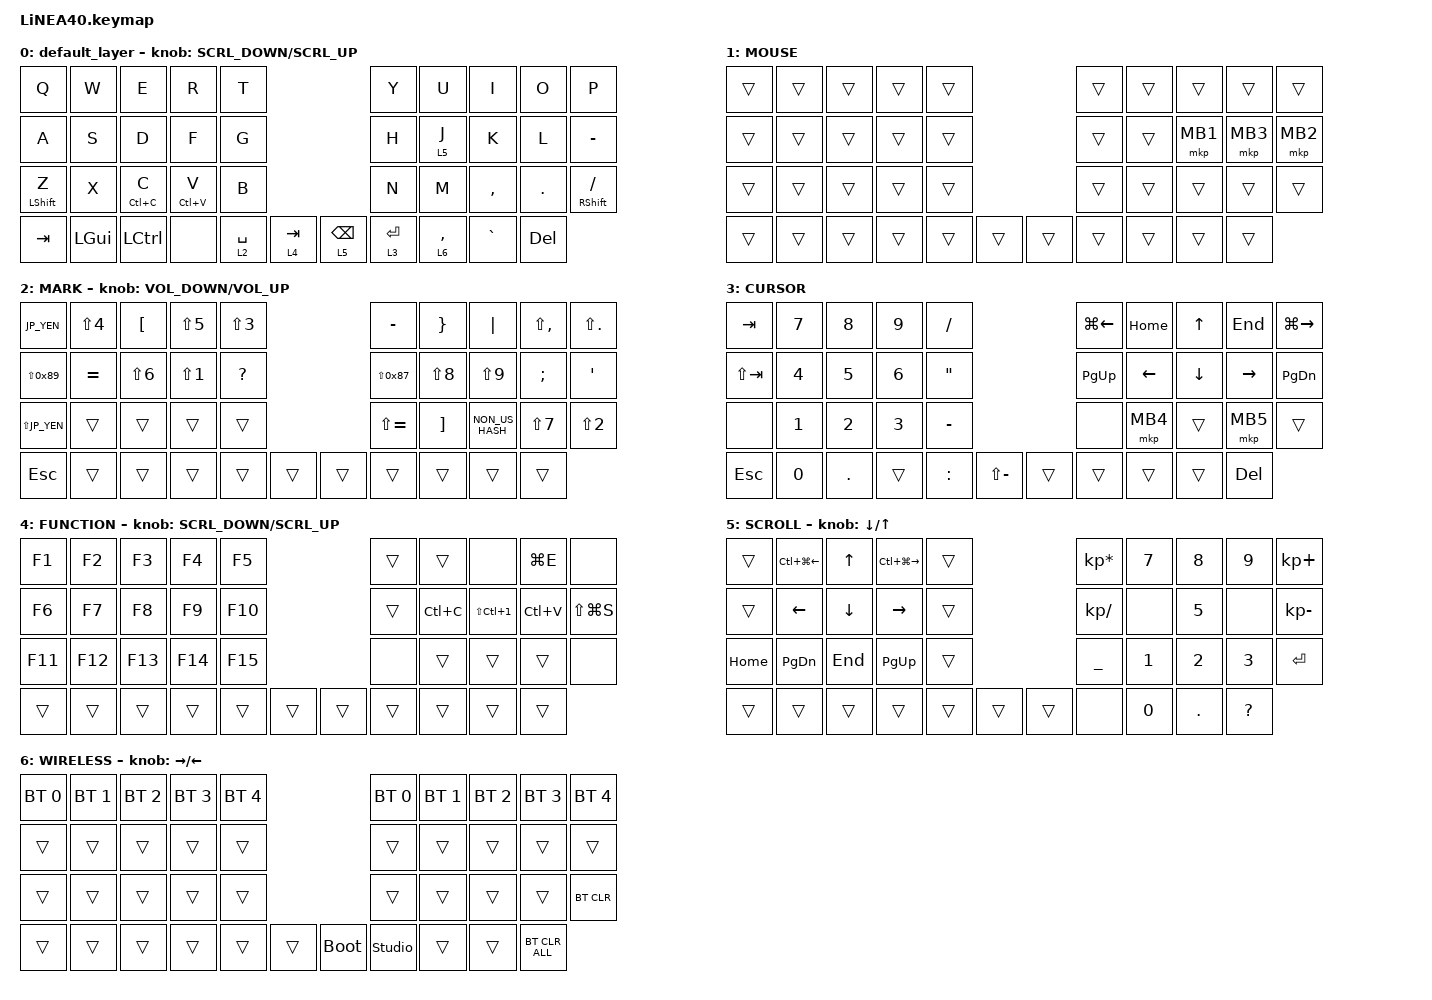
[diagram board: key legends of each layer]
#define ZMK_POINTING_DEFAULT_SCRL_VAL 150

#include <dt-bindings/zmk/input_transform.h>
#include <input/processors.dtsi>
#include <zephyr/dt-bindings/input/input-event-codes.h>
#include <behaviors.dtsi>
#include <dt-bindings/zmk/bt.h>
#include <dt-bindings/zmk/keys.h>
#include <dt-bindings/zmk/pointing.h>

#define MOUSE 1
#define MARK 2
#define CURSOR 3
#define FUNCTION 4
#define SCROLL 5
#define WIRELESS 6
#define JP_YEN     0x89
#define JP_PIPE    LS(0x89)
#define JP_UNDERSCORE LS(0x87)
#define JP_LBRACE  RIGHT_BRACE
#define JP_RBRACE  PIPE
#define JP_COLON  SINGLE_QUOTE
#define JP_ASTERISK  DOUBLE_QUOTES
#define JP_PLUS  COLON

//mouse cursol

&mmv {
    delay-ms = <20>;
    trigger-period-ms = <5>;
    time-to-max-speed-ms = <100>;
    acceleration-exponent = <2>;
};

//mouse scroll

&msc {
    delay-ms = <3>;
    trigger-period-ms = <3>;
    time-to-max-speed-ms = <100>;
    acceleration-exponent = <0>;
};

/ {
    input_processors {
        zip_wheel_scaler: zip_wheel_scaler {
            compatible = "zmk,input-processor-scaler";
            #input-processor-cells = <2>;
            type = <INPUT_EV_REL>;
            codes = <INPUT_REL_WHEEL>;
            track-remainders;
        };
    };
};

&msc_input_listener {
    speed_up {
        layers = <FUNCTION>;
        input-processors = <&zip_wheel_scaler 3 1>; //スクロールを3倍速にする
    };
};

&trackball_listener {
    scroller {
        layers = <SCROLL>;
        input-processors =
            <&zip_xy_transform INPUT_TRANSFORM_Y_INVERT>,
            //スクロール方向を逆転,,,,,,,,,,,,,
            <&zip_xy_to_scroll_mapper>;
    };
};

/ {
    combos {
        compatible = "zmk,combos";

        ZenkakuHankaku {
            bindings = <&kp GRAVE>;
            key-positions = <11 12>;
        };

        DeleteKey {
            bindings = <&kp DEL>;
            key-positions = <7 8>;
        };

        InsertKey {
            bindings = <&kp INS>;
            key-positions = <6 7>;
        };

        CenterClick {
            bindings = <&mkp MB3>;
            key-positions = <17 16>;
        };

        RightClick {
            bindings = <&mkp MB2>;
            key-positions = <18 17>;
        };
    };

    behaviors {
        re_kp: sensor_rotate_kp {
            compatible = "zmk,behavior-sensor-rotate-var";
            #sensor-binding-cells = <2>;
            bindings = <&kp>, <&kp>;
        };

        mouse_scrl: mouse_wheel_scrl {
            compatible = "zmk,behavior-sensor-rotate-var";
            #sensor-binding-cells = <2>;
            bindings = <&msc>, <&msc>;

            tap-ms = <20>;
        };
    };

    keymap {
        compatible = "zmk,keymap";

        default_layer {
            bindings = <
&kp Q             &kp W         &kp E             &kp R        &kp T                                      &kp Y        &kp U    &kp I        &kp O       &kp P
&kp A             &kp S         &kp D             &kp F        &kp G                                      &kp H        &lt 5 J  &kp K        &kp L       &kp MINUS
&mt LEFT_SHIFT Z  &kp X         &mt LC(C) C       &mt LC(V) V  &kp B                                      &kp N        &kp M    &kp COMMA    &kp PERIOD  &mt RIGHT_SHIFT SLASH
&kp TAB           &kp LEFT_GUI  &kp LEFT_CONTROL  &none        &lt 2 SPACE  &lt 4 TAB    &lt 5 BACKSPACE  &lt 3 ENTER           &lt 6 COMMA  &kp GRAVE   &kp DELETE
            >;

            sensor-bindings = <&mouse_scrl SCRL_DOWN SCRL_UP>;
        };

        //1

        MOUSE {
            bindings = <
&trans  &trans  &trans  &trans  &trans                    &trans  &trans  &trans    &trans    &trans
&trans  &trans  &trans  &trans  &trans                    &trans  &trans  &mkp MB1  &mkp MB3  &mkp MB2
&trans  &trans  &trans  &trans  &trans                    &trans  &trans  &trans    &trans    &trans
&trans  &trans  &trans  &trans  &trans  &trans    &trans  &trans          &trans    &trans    &trans
            >;
        };

        //2

        MARK {
            bindings = <
&kp JP_YEN      &kp LS(N4)  &kp LBKT    &kp LS(N5)  &kp LS(N3)                    &kp MINUS          &kp JP_LBRACE  &kp JP_RBRACE    &kp LS(COMMA)  &kp LS(DOT)
&kp JP_PIPE     &kp EQUAL   &kp LS(N6)  &kp LS(N1)  &kp QMARK                     &kp JP_UNDERSCORE  &kp LS(N8)     &kp LS(N9)       &kp SEMI       &kp JP_COLON
&kp LS(JP_YEN)  &trans      &trans      &trans      &trans                        &kp LS(EQUAL)      &kp RBKT       &kp NON_US_HASH  &kp LS(N7)     &kp LS(N2)
&kp ESC         &trans      &trans      &trans      &trans      &trans    &trans  &trans                            &trans           &trans         &trans
            >;

            sensor-bindings = <&re_kp C_VOLUME_DOWN C_VOLUME_UP>;
        };

        //3

        CURSOR {
            bindings = <
&kp TAB      &kp N7  &kp N8      &kp N9  &kp SLASH                                 &kp LG(LEFT)  &kp HOME        &kp UP_ARROW    &kp END          &kp LG(RIGHT)
&kp LS(TAB)  &kp N4  &kp N5      &kp N6  &kp JP_ASTERISK                           &kp PAGE_UP   &kp LEFT_ARROW  &kp DOWN_ARROW  &kp RIGHT_ARROW  &kp PAGE_DOWN
&none        &kp N1  &kp N2      &kp N3  &kp MINUS                                 &none         &mkp MB4        &trans          &mkp MB5         &trans
&kp ESCAPE   &kp N0  &kp PERIOD  &trans  &kp JP_PLUS      &kp LS(MINUS)    &trans  &trans                        &trans          &trans           &kp DEL
            >;
        };

        //4

        FUNCTION {
            bindings = <
&kp F1   &kp F2   &kp F3   &kp F4   &kp F5                     &trans  &trans     &none                 &kp LG(E)  &none
&kp F6   &kp F7   &kp F8   &kp F9   &kp F10                    &trans  &kp LC(C)  &kp LS(LC(NUMBER_1))  &kp LC(V)  &kp LS(LG(S))
&kp F11  &kp F12  &kp F13  &kp F14  &kp F15                    &none   &trans     &trans                &trans     &none
&trans   &trans   &trans   &trans   &trans   &trans    &trans  &trans             &trans                &trans     &trans
            >;

            sensor-bindings = <&mouse_scrl SCRL_DOWN SCRL_UP>;
        };

        //5

        SCROLL {
            bindings = <
&trans    &kp LC(LG(LEFT_ARROW))  &kp UP_ARROW  &kp LC(LG(RIGHT_ARROW))  &trans                    &kp KP_MULTIPLY  &kp NUMBER_7  &kp NUMBER_8  &kp NUMBER_9  &kp KP_PLUS
&trans    &kp LEFT_ARROW          &kp DOWN      &kp RIGHT_ARROW          &trans                    &kp KP_SLASH     &none         &kp NUMBER_5  &none         &kp KP_MINUS
&kp HOME  &kp PAGE_DOWN           &kp END       &kp PAGE_UP              &trans                    &kp UNDER        &kp NUMBER_1  &kp NUMBER_2  &kp NUMBER_3  &kp ENTER
&trans    &trans                  &trans        &trans                   &trans  &trans    &trans  &none                          &kp NUMBER_0  &kp DOT       &kp QUESTION
            >;

            sensor-bindings = <&inc_dec_kp DOWN_ARROW UP_ARROW>;
        };

        //6

        WIRELESS {
            bindings = <
&bt BT_SEL 0  &bt BT_SEL 1  &bt BT_SEL 2  &bt BT_SEL 3  &bt BT_SEL 4                         &bt BT_SEL 0    &bt BT_SEL 1  &bt BT_SEL 2  &bt BT_SEL 3  &bt BT_SEL 4
&trans        &trans        &trans        &trans        &trans                               &trans          &trans        &trans        &trans        &trans
&trans        &trans        &trans        &trans        &trans                               &trans          &trans        &trans        &trans        &bt BT_CLR
&trans        &trans        &trans        &trans        &trans        &trans    &bootloader  &studio_unlock                &trans        &trans        &bt BT_CLR_ALL
            >;

            sensor-bindings = <&inc_dec_kp RIGHT_ARROW LEFT_ARROW>;
        };
    };
};
